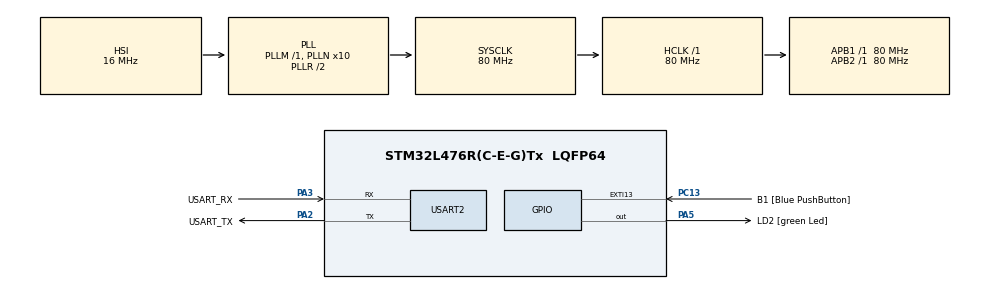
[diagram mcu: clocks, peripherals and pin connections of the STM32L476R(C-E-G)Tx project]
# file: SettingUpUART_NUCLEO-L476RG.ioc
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Mcu.Family=STM32L4
Mcu.Name=STM32L476R(C-E-G)Tx
Mcu.Package=LQFP64
NVIC.PriorityGroup=NVIC_PRIORITYGROUP_4
NVIC.USART2_IRQn=true\:0\:0\:false\:false\:true\:true\:true\:true
PA13\ (JTMS-SWDIO).GPIO_Label=TMS
PA13\ (JTMS-SWDIO).Mode=Serial_Wire
PA13\ (JTMS-SWDIO).Signal=SYS_JTMS-SWDIO
PA14\ (JTCK-SWCLK).GPIO_Label=TCK
PA14\ (JTCK-SWCLK).Mode=Serial_Wire
PA14\ (JTCK-SWCLK).Signal=SYS_JTCK-SWCLK
PA2.GPIO_Label=USART_TX
PA2.GPIO_Mode=GPIO_MODE_AF_PP
PA2.GPIO_PuPd=GPIO_NOPULL
PA2.GPIO_Speed=GPIO_SPEED_FREQ_VERY_HIGH
PA2.Mode=Asynchronous
PA2.Signal=USART2_TX
PA3.GPIO_Label=USART_RX
PA3.GPIO_Mode=GPIO_MODE_AF_PP
PA3.GPIO_PuPd=GPIO_NOPULL
PA3.GPIO_Speed=GPIO_SPEED_FREQ_VERY_HIGH
PA3.Mode=Asynchronous
PA3.Signal=USART2_RX
PA5.GPIO_Label=LD2 [green Led]
PA5.GPIO_ModeDefaultOutputPP=GPIO_MODE_OUTPUT_PP
PA5.GPIO_PuPd=GPIO_NOPULL
PA5.GPIO_Speed=GPIO_SPEED_FREQ_LOW
PA5.Signal=GPIO_Output
PB3\ (JTDO-TRACESWO).GPIO_Label=SWO
PB3\ (JTDO-TRACESWO).Signal=SYS_JTDO-SWO
PC13.GPIO_Label=B1 [Blue PushButton]
PC13.GPIO_ModeDefaultEXTI=GPIO_MODE_IT_FALLING
PC13.GPIO_PuPd=GPIO_NOPULL
PC13.Signal=GPXTI13
PC14-OSC32_IN\ (PC14).Mode=LSE-External-Oscillator
PC14-OSC32_IN\ (PC14).Signal=RCC_OSC32_IN
PC15-OSC32_OUT\ (PC15).Mode=LSE-External-Oscillator
PC15-OSC32_OUT\ (PC15).Signal=RCC_OSC32_OUT
PH0-OSC_IN\ (PH0).Signal=RCC_OSC_IN
PH1-OSC_OUT\ (PH1).Signal=RCC_OSC_OUT
ProjectManager.HeapSize=0x200
ProjectManager.StackSize=0x400
ProjectManager.TargetToolchain=STM32CubeIDE
RCC.ADCFreq_Value=64000000
RCC.AHBFreq_Value=80000000
RCC.APB1Freq_Value=80000000
RCC.APB1TimFreq_Value=80000000
RCC.APB2Freq_Value=80000000
RCC.APB2TimFreq_Value=80000000
RCC.CortexFreq_Value=80000000
RCC.HCLKFreq_Value=80000000
RCC.HSE_VALUE=8000000
RCC.HSI_VALUE=16000000
RCC.MSI_VALUE=4000000
RCC.PLLN=10
RCC.PLLSourceVirtual=RCC_PLLSOURCE_HSI
RCC.PREFETCH_ENABLE=1
RCC.SYSCLKFreq_VALUE=80000000
RCC.SYSCLKSource=RCC_SYSCLKSOURCE_PLLCLK
RCC.USBFreq_Value=64000000
RCC.VCOOutputFreq_Value=160000000
USART2.VirtualMode-Asynchronous=VM_ASYNC
board=NUCLEO-L476RG

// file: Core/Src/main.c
/* USER CODE BEGIN Header */
/**
  ******************************************************************************
  * @file           : main.c
  * @brief          : Main program body
  ******************************************************************************
  * @attention
  *
  * Copyright (c) 2023 STMicroelectronics.
  * All rights reserved.
  *
  * This software is licensed under terms that can be found in the LICENSE file
  * in the root directory of this software component.
  * If no LICENSE file comes with this software, it is provided AS-IS.
  *
  ******************************************************************************
  */
/* USER CODE END Header */
#include "main.h"

/* USER CODE BEGIN Includes */
#include <stdio.h>
#include <stdbool.h>
#include "ringbuffer.h"
/* USER CODE END Includes */

/* USER CODE BEGIN PD */
#define UART_RING_BUFFER_SIZE 512
/* USER CODE END PD */

UART_HandleTypeDef huart2;

/* USER CODE BEGIN PV */
volatile uint8_t rb_buffer[UART_RING_BUFFER_SIZE + 1];
Ringbuffer uart_rb = {
    .len = UART_RING_BUFFER_SIZE,
    .buffer = rb_buffer,
    .head = 0,
    .tail = 0
};

volatile bool newline = false;
/* USER CODE END PV */

void SystemClock_Config(void);
static void MX_GPIO_Init(void);
static void MX_USART2_UART_Init(void);

int main(void)
{

  /* MCU Configuration--------------------------------------------------------*/

  /* Reset of all peripherals, Initializes the Flash interface and the Systick. */
  HAL_Init();

  /* Configure the system clock */
  SystemClock_Config();

  /* Initialize all configured peripherals */
  MX_GPIO_Init();
  MX_USART2_UART_Init();

  /* Infinite loop */
  /* USER CODE BEGIN WHILE */
  while (1)
  {
//    printf("Hello, World!\r\n");
//    HAL_Delay(1000);
    if (newline)
    {
      uint8_t ch = '\0';
      while ((ch = ringbuffer_read(&uart_rb)) != '\0')
       putchar(ch); /* Echo to UART */
    }
    /* USER CODE END WHILE */

  }
}

void SystemClock_Config(void)
{
  RCC_OscInitTypeDef RCC_OscInitStruct = {0};
  RCC_ClkInitTypeDef RCC_ClkInitStruct = {0};

  /** Configure the main internal regulator output voltage
  */
  if (HAL_PWREx_ControlVoltageScaling(PWR_REGULATOR_VOLTAGE_SCALE1) != HAL_OK)
  {
    Error_Handler();
  }

  /** Initializes the RCC Oscillators according to the specified parameters
  * in the RCC_OscInitTypeDef structure.
  */
  RCC_OscInitStruct.OscillatorType = RCC_OSCILLATORTYPE_HSI;
  RCC_OscInitStruct.HSIState = RCC_HSI_ON;
  RCC_OscInitStruct.HSICalibrationValue = RCC_HSICALIBRATION_DEFAULT;
  RCC_OscInitStruct.PLL.PLLState = RCC_PLL_ON;
  RCC_OscInitStruct.PLL.PLLSource = RCC_PLLSOURCE_HSI;
  RCC_OscInitStruct.PLL.PLLM = 1;
  RCC_OscInitStruct.PLL.PLLN = 10;
  RCC_OscInitStruct.PLL.PLLP = RCC_PLLP_DIV7;
  RCC_OscInitStruct.PLL.PLLQ = RCC_PLLQ_DIV2;
  RCC_OscInitStruct.PLL.PLLR = RCC_PLLR_DIV2;
  if (HAL_RCC_OscConfig(&RCC_OscInitStruct) != HAL_OK)
  {
    Error_Handler();
  }

  /** Initializes the CPU, AHB and APB buses clocks
  */
  RCC_ClkInitStruct.ClockType = RCC_CLOCKTYPE_HCLK|RCC_CLOCKTYPE_SYSCLK
                              |RCC_CLOCKTYPE_PCLK1|RCC_CLOCKTYPE_PCLK2;
  RCC_ClkInitStruct.SYSCLKSource = RCC_SYSCLKSOURCE_PLLCLK;
  RCC_ClkInitStruct.AHBCLKDivider = RCC_SYSCLK_DIV1;
  RCC_ClkInitStruct.APB1CLKDivider = RCC_HCLK_DIV1;
  RCC_ClkInitStruct.APB2CLKDivider = RCC_HCLK_DIV1;

  if (HAL_RCC_ClockConfig(&RCC_ClkInitStruct, FLASH_LATENCY_4) != HAL_OK)
  {
    Error_Handler();
  }
}

static void MX_USART2_UART_Init(void)
{

  huart2.Instance = USART2;
  huart2.Init.BaudRate = 115200;
  huart2.Init.WordLength = UART_WORDLENGTH_8B;
  huart2.Init.StopBits = UART_STOPBITS_1;
  huart2.Init.Parity = UART_PARITY_NONE;
  huart2.Init.Mode = UART_MODE_TX_RX;
  huart2.Init.HwFlowCtl = UART_HWCONTROL_NONE;
  huart2.Init.OverSampling = UART_OVERSAMPLING_16;
  huart2.Init.OneBitSampling = UART_ONE_BIT_SAMPLE_DISABLE;
  huart2.AdvancedInit.AdvFeatureInit = UART_ADVFEATURE_NO_INIT;
  if (HAL_UART_Init(&huart2) != HAL_OK)
  {
    Error_Handler();
  }

}

static void MX_GPIO_Init(void)
{
  GPIO_InitTypeDef GPIO_InitStruct = {0};

  /* GPIO Ports Clock Enable */
  __HAL_RCC_GPIOC_CLK_ENABLE();
  __HAL_RCC_GPIOH_CLK_ENABLE();
  __HAL_RCC_GPIOA_CLK_ENABLE();
  __HAL_RCC_GPIOB_CLK_ENABLE();

  /*Configure GPIO pin Output Level */
  HAL_GPIO_WritePin(LD2_GPIO_Port, LD2_Pin, GPIO_PIN_RESET);

  /*Configure GPIO pin : B1_Pin */
  GPIO_InitStruct.Pin = B1_Pin;
  GPIO_InitStruct.Mode = GPIO_MODE_IT_FALLING;
  GPIO_InitStruct.Pull = GPIO_NOPULL;
  HAL_GPIO_Init(B1_GPIO_Port, &GPIO_InitStruct);

  /*Configure GPIO pin : LD2_Pin */
  GPIO_InitStruct.Pin = LD2_Pin;
  GPIO_InitStruct.Mode = GPIO_MODE_OUTPUT_PP;
  GPIO_InitStruct.Pull = GPIO_NOPULL;
  GPIO_InitStruct.Speed = GPIO_SPEED_FREQ_LOW;
  HAL_GPIO_Init(LD2_GPIO_Port, &GPIO_InitStruct);

}

/* USER CODE BEGIN 4 */
int _write(int handle, char* data, int size)
{
  int count = size;
  while (count--)
  {
    while (!(USART2->ISR & USART_ISR_TXE)) __NOP();
    USART2->TDR = *data++;
  }
  return size;
}

void USART2_IRQHandler(void)
{
  if (USART2->ISR & USART_ISR_RXNE) {
    /* Copy new data into the buffer. */
    uint8_t c = USART2->RDR;
    ringbuffer_write(uart_rb, c);
    if (c == '\n')
      newline = true;
  }
}
/* USER CODE END 4 */

void Error_Handler(void)
{
  __disable_irq();
  while (1)
  {
  }
}
